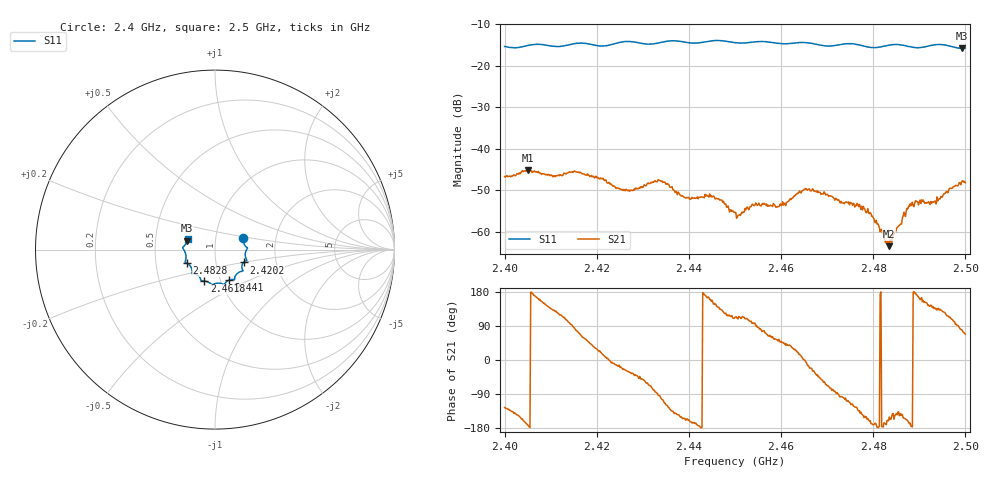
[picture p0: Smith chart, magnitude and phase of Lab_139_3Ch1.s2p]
# Hz S RI R 50
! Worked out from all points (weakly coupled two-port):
!   601 points, 2.4 GHz to 2.5 GHz, reference 50 ohm
!   highest |S21| = -45.26 dB at 2.405 GHz (marker M1); lowest = -63.5 dB at 2.4833 GHz (marker M2)
!   lowest |S11| = -15.8 dB at 2.4993 GHz (marker M3), VSWR 1.39, Z = 36.5 + j3.8 ohm
!   |S11| at or under -10 dB: start of sweep to end of sweep
!   S12 and S22 are empty: the file has one direction only
!   S11 on the Smith chart (normalised r, x): 2.4 GHz: 1.36, +0.18; 2.4202 GHz: 1.36, -0.20; 2.441 GHz: 1.10, -0.39; 2.4618 GHz: 0.84, -0.30; 2.4828 GHz: 0.72, -0.11; 2.5 GHz: 0.73, +0.09
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2.4e9  0.1587 0.0629  -0.00267 -0.00375  0 0  0 0
2.405e9  0.1746 0.0143  -0.0054 -0.000841  0 0  0 0
2.410833e9  0.17 -0.0146  -0.0031 0.00356  0 0  0 0
2.416667e9  0.1773 -0.0608  0.00225 0.00456  0 0  0 0
2.420167e9  0.159 -0.0717  0.00405 0.00205  0 0  0 0
2.426667e9  0.1562 -0.1188  0.00272 -0.00157  0 0  0 0
2.433333e9  0.1118 -0.1507  -0.000246 -0.00424  0 0  0 0
2.441e9  0.0789 -0.1698  -0.00246 -0.000595  0 0  0 0
2.445e9  0.0522 -0.1929  -0.00242 0.000979  0 0  0 0
2.45e9  0.0286 -0.1875  -0.000657 0.00157  0 0  0 0
2.450833e9  0.0201 -0.1867  -0.000663 0.00144  0 0  0 0
2.454167e9  -0.00835 -0.1934  -0.00026 0.00204  0 0  0 0
2.459167e9  -0.0336 -0.1835  0.00122 0.0016  0 0  0 0
2.461833e9  -0.0589 -0.1756  0.00186 0.00155  0 0  0 0
2.466667e9  -0.0789 -0.1683  0.00292 -0.00119  0 0  0 0
2.478333e9  -0.128 -0.1126  -0.00154 -0.00083  0 0  0 0
2.482833e9  -0.157 -0.0765  -0.00076 -0.000126  0 0  0 0
2.483333e9  -0.1602 -0.075  -0.00063 -0.000223  0 0  0 0
2.488e9  -0.1617 -0.05  -0.00211 -0.000497  0 0  0 0
2.493167e9  -0.1782 0.00573  -0.00163 0.00157  0 0  0 0
2.499333e9  -0.1539 0.0507  0.000842 0.00402  0 0  0 0
2.5e9  -0.152 0.0603  0.00146 0.0036  0 0  0 0
